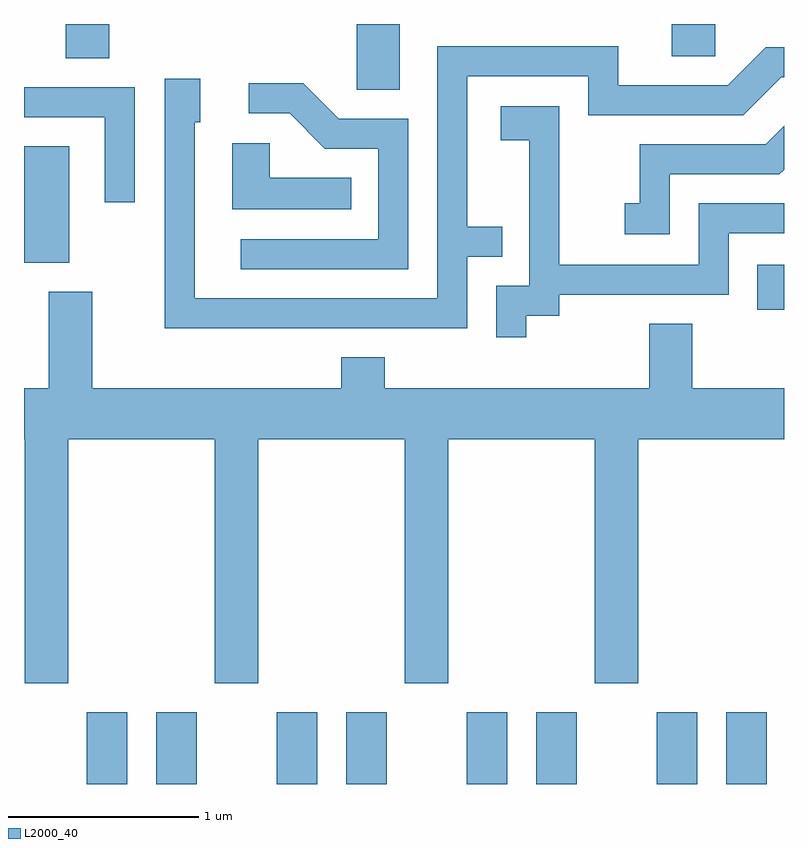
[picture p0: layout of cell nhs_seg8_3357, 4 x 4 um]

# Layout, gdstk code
import gdstk
lib = gdstk.Library(unit=1e-6, precision=1e-09)
def R(c, l, rs):  # rectangles x0, y0, x1, y1
    for r in rs: c.add(gdstk.rectangle(r[:2], r[2:], *l))
def P(c, l, *ps):  # polygons
    for p in ps: c.add(gdstk.Polygon(p, *l))
L2000_40 = (2000, 40)

nhs_seg8_3357 = lib.new_cell('nhs_seg8_3357')
R(nhs_seg8_3357, L2000_40, [(285.941,1872.342,286.154,1872.719), (286.306,1872.342,286.519,1872.719), (286.941,1872.342,287.154,1872.719), (287.306,1872.342,287.519,1872.719), (287.941,1872.342,288.154,1872.719), (288.306,1872.342,288.519,1872.719), (288.941,1872.342,289.154,1872.719), (289.306,1872.342,289.519,1872.719), (289.471,1874.838,289.611,1875.074), (285.611,1875.086,285.849,1875.699), (287.361,1875.996,287.589,1876.342), (285.831,1876.161,286.059,1876.342), (289.021,1876.171,289.249,1876.342)])
P(nhs_seg8_3357, L2000_40, [(287.944,1875.116),(288.128,1875.116),(288.128,1875.274),(287.944,1875.274),(287.944,1876.066),(288.581,1876.066),(288.581,1875.861),(289.397,1875.861),(289.597,1876.061),(289.611,1876.061),(289.611,1876.219),(289.514,1876.219),(289.314,1876.019),(288.739,1876.019),(288.739,1876.224),(287.786,1876.224),(287.786,1874.899),(286.509,1874.899),(286.509,1875.826),(286.539,1875.826),(286.539,1876.054),(286.351,1876.054),(286.351,1874.741),(287.944,1874.741)],
  [(287.634,1875.844),(287.267,1875.844),(287.082,1876.029),(286.793,1876.029),(286.793,1875.871),(287.009,1875.871),(287.194,1875.686),(287.476,1875.686),(287.476,1875.209),(286.753,1875.209),(286.753,1875.051),(287.634,1875.051)],
  [(286.194,1876.009),(285.611,1876.009),(285.611,1875.851),(286.036,1875.851),(286.036,1875.403),(286.194,1875.403)],
  [(288.254,1874.806),(288.429,1874.806),(288.429,1874.916),(289.319,1874.916),(289.319,1875.241),(289.611,1875.241),(289.611,1875.399),(289.161,1875.399),(289.161,1875.074),(288.429,1875.074),(288.429,1875.909),(288.121,1875.909),(288.121,1875.731),(288.271,1875.731),(288.271,1874.964),(288.096,1874.964),(288.096,1874.693),(288.254,1874.693)],
  [(289.009,1875.551),(289.587,1875.551),(289.611,1875.575),(289.611,1875.806),(289.514,1875.709),(288.851,1875.709),(288.851,1875.399),(288.773,1875.399),(288.773,1875.236),(289.009,1875.236)],
  [(287.333,1875.534),(286.904,1875.534),(286.904,1875.714),(286.706,1875.714),(286.706,1875.366),(287.333,1875.366)],
  [(285.844,1874.156),(286.616,1874.156),(286.616,1872.871),(286.844,1872.871),(286.844,1874.156),(287.616,1874.156),(287.616,1872.871),(287.844,1872.871),(287.844,1874.156),(288.616,1874.156),(288.616,1872.871),(288.844,1872.871),(288.844,1874.156),(289.611,1874.156),(289.611,1874.424),(289.129,1874.424),(289.129,1874.764),(288.901,1874.764),(288.901,1874.424),(287.509,1874.424),(287.509,1874.589),(287.281,1874.589),(287.281,1874.424),(285.969,1874.424),(285.969,1874.934),(285.741,1874.934),(285.741,1874.424),(285.611,1874.424),(285.611,1874.156),(285.616,1874.156),(285.616,1872.871),(285.844,1872.871)])

lib.write_gds('nhs_seg8_3357.gds')
